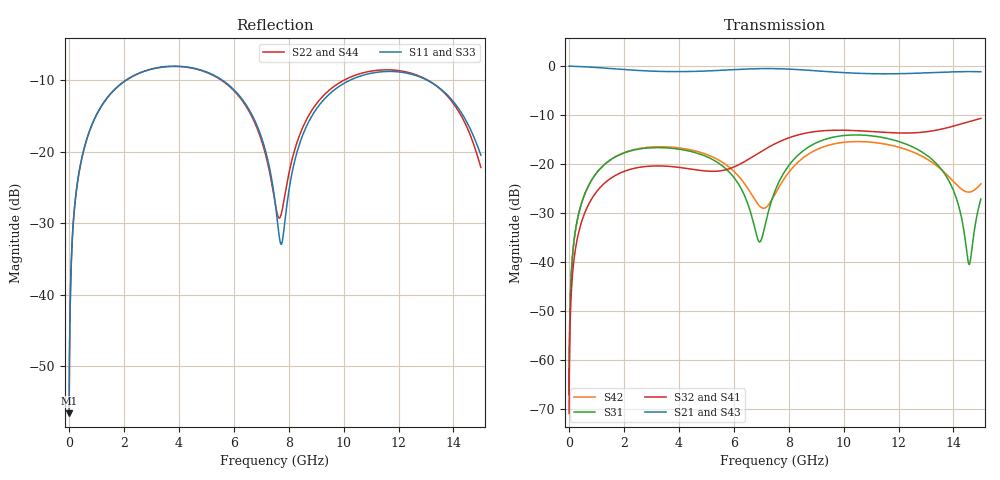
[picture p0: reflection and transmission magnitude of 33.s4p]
! Created with skrf 1.8.0 (http://scikit-rf.org).
# GHz S RI R 50.0
!freq ReS11 ImS11 ReS12 ImS12 ReS13 ImS13
! ReS14 ImS14
! ReS21 ImS21 ReS22 ImS22 ReS23 ImS23
! ReS24 ImS24
! ReS31 ImS31 ReS32 ImS32 ReS33 ImS33
! ReS34 ImS34
! ReS41 ImS41 ReS42 ImS42 ReS43 ImS43
! ReS44 ImS44
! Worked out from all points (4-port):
!   2499 points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, 5 MHz to 15 GHz, reference 50 ohm
!   strongest paths, dB at 5 MHz, 3.476 GHz, 7.19 GHz, 11.1 GHz, 15 GHz:
!     S21: 0.0, -1.1, -0.5, -1.6, -1.1
!     S43: 0.0, -1.1, -0.5, -1.6, -1.2
!     S32: -70.9, -20.4, -16.8, -13.4, -10.7
!     S41: -70.9, -20.4, -16.8, -13.4, -10.7
!     S31: -67.0, -16.7, -31.3, -14.3, -27.1
!     S42: -67.0, -16.5, -28.8, -15.6, -24.0
!   lowest |S11| = -56.6 dB at 5 MHz (marker M1), VSWR 1.00, Z = 50.1 + j0.0897 ohm
!   |S11| at or under -10 dB: start of sweep to 2.06 GHz; 5.601 GHz to 10.21 GHz (4.611 GHz wide, 58.3 % of centre); 13.07 GHz to end of sweep
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0.005  0.00117 0.000895  0.9988 -0.00229  5.69e-05 0.000443  -5.55e-05 -0.00028
       0.9988 -0.00229  0.00117 0.000895  -5.55e-05 -0.00028  5.69e-05 0.000443
       5.69e-05 0.000443  -5.55e-05 -0.00028  0.00117 0.000895  0.9988 -0.00229
       -5.55e-05 -0.00028  5.69e-05 0.000443  0.9988 -0.00229  0.00117 0.000895
0.4126719  0.0207 0.0776  0.9714 -0.1874  0.00918 0.035  -0.00778 -0.0219
           0.9714 -0.1874  0.0207 0.0776  -0.00778 -0.0219  0.00946 0.0349
           0.00918 0.035  -0.00778 -0.0219  0.0207 0.0776  0.9714 -0.1874
           -0.00778 -0.0219  0.00946 0.0349  0.9714 -0.1874  0.0207 0.0776
1.975823  0.2422 0.1902  0.6097 -0.6944  0.1099 0.0675  -0.082 -0.0156
          0.6097 -0.6944  0.2412 0.1907  -0.0821 -0.0155  0.1137 0.0629
          0.1099 0.0675  -0.0821 -0.0155  0.2422 0.1902  0.6098 -0.6943
          -0.082 -0.0156  0.1137 0.0629  0.6098 -0.6943  0.2412 0.1907
6.940392  0.0604 -0.1237  -0.8746 -0.3506  0.016 0.00172  -0.045 0.1234
          -0.8746 -0.3506  0.0679 -0.1129  -0.0438 0.1239  -0.0322 -0.0187
          0.016 0.00172  -0.0438 0.1239  0.0597 -0.1221  -0.8749 -0.3504
          -0.045 0.1234  -0.0322 -0.0187  -0.8749 -0.3504  0.0672 -0.1114
7.784494  0.0233 0.00808  -0.938 -0.00927  0.0388 0.0675  0.00315 0.1751
          -0.938 -0.00927  0.0366 0.0188  0.00481 0.1752  -0.0191 0.0646
          0.0388 0.0675  0.00481 0.1752  0.023 0.0101  -0.938 -0.00892
          0.00315 0.1751  -0.0191 0.0646  -0.938 -0.00892  0.0368 0.021
10.37307  0.2993 0.1306  -0.4376 0.7266  0.1981 -0.00924  0.2127 0.0518
          -0.4376 0.7266  0.3202 0.1187  0.2144 0.0495  0.1667 0.031
          0.1981 -0.00924  0.2144 0.0495  0.2996 0.1333  -0.4377 0.7257
          0.2127 0.0518  0.1667 0.031  -0.4377 0.7257  0.3232 0.1186
15  0.0702 -0.0639  0.837 0.2589  0.00491 0.0438  0.0858 -0.2803
    0.837 0.2589  0.0602 -0.0492  0.0787 -0.2819  -0.0511 0.0366
    0.00491 0.0438  0.0787 -0.2819  0.077 -0.0653  0.8357 0.2625
    0.0858 -0.2803  -0.0511 0.0366  0.8357 0.2625  0.0553 -0.0536
